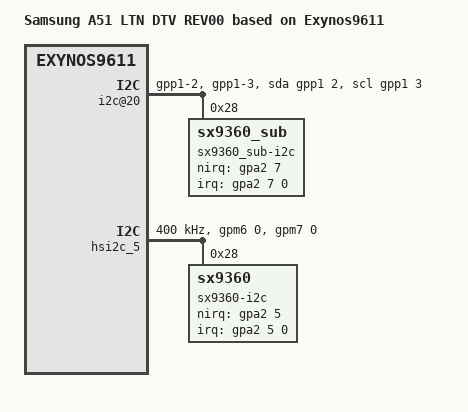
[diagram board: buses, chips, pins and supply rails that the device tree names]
/*
 * SAMSUNG EXYNOS9610 board device tree source
 *
 * Copyright (c) 2018 Samsung Electronics Co., Ltd.
 *		http://www.samsung.com
 *
 * This program is free software; you can redistribute it and/or modify
 * it under the terms of the GNU General Public License version 2 as
 * published by the Free Software Foundation.
 */

/dts-v1/;
/plugin/;
#include "exynos9611-a51_common.dtsi"
#include "battery_data_a51_00.dtsi"
#include "exynos9611-a51_fingerprint_00.dtsi"
#include "exynos9611-a51_sensorhub_00.dtsi"
#include "exynos9611-a51_nfc_00.dtsi"
#include "exynos9611-a51_ltn_dtv_gpio_00.dtsi"

/ {
	compatible = "samsung, A51 LTN DTV REV00", "samsung,EXYNOS9611";
	dtbo-hw_rev = <0>;
	dtbo-hw_rev_end = <0>;

	fragment@model {
		target-path = "/";
		__overlay__ {
			#address-cells = <2>;
			#size-cells = <1>;

			model = "Samsung A51 LTN DTV REV00 based on Exynos9611";

			mif_pdata {
				/* GPIOs for HW REV */
				/* XGPIO26-AP_REV0, XGPIO27-AP_REV1, XGPIO28-AP_REV2, XGPIO29-AP_REV3 */
				gpios = <&gpg3 2 0>, <&gpg3 3 0>, <&gpg3 4 0>, <&gpg3 5 0>;
				pinctrl-names = "default";
			};

			sec_vib {
				compatible = "sec_vib";
				sec_vib_pdata {
					status = "okay";
					sec_vib,max_timeout = <10000>;
					sec_vib,ldo_type = <1>;
					sec_vib,ldo_en = <&gpg2 5 0>;
				};
			};

			i2c@20 {
				compatible = "i2c-gpio";
				gpios = <&gpp1 2 0
						&gpp1 3 0>;
				i2c-gpio,delay-us = <5>;
				#address-cells = <1>;
				#size-cells = <0>;
				pinctrl-names = "default";
				pinctrl-0 = <&grip_sub_i2c>;

				sx9360_sub-i2c@28 {
					status = "okay";

					compatible = "sx9360_sub";
					reg = <0x28>;
					pinctrl-names = "default";
					pinctrl-0 = <&grip_sub_int>;
					interrupt-parent = <&gpa2>;
					interrupts = <7 0 0>;
					sx9360_sub,nirq-gpio = <&gpa2 7 0>;

					sx9360,refresolution_reg = <0x0f>; /* same as resolution_reg */
					sx9360,refagainfreq_reg = <0x36>; /* same as againfreq_reg */
					sx9360,resolution_reg = <0x0f>; /* resolution : 1024 */
					sx9360,againfreq_reg = <0x58>; /* freq : 62.5 kHz, again : +/-7.5 pF */
					sx9360,refgainrawfilt_reg = <0x22>; /* same as gainrawfilt_reg */
					sx9360,gainrawfilt_reg = <0x1A>; /* rawfilter : 1-1/4, gain : x4 */
					sx9360,hyst_reg = <0x15>; /* hysteresis : +/-6 %, debouncer : 2 samples */
					sx9360,proxthresh_reg = <0x23>; /* threshhold : 612 */
					sx9360_sub,hallic_detect = <1>;
					sx9360_sub,hallic_cert_detect = <1>;
				};
			};
		}; /* end of __overlay__ */
	}; /* end of fragment */
}; /* end of root */

/* USI_1_CMGP_I2C */
&hsi2c_5 {
	#address-cells = <1>;
	#size-cells = <0>;
	gpios = <&gpm6 0 0 &gpm7 0 0>;
	#samsung,i2c-sda-delay = <100>;
	#samsung,i2c-max-bus-freq = <400000>;
	clock-frequency = <400000>;
	status = "okay";
	samsung,reset-before-trans;

	pinctrl-names = "default";
	pinctrl-0 = <&hsi2c5_bus>;

	sx9360-i2c@28 {
		status = "okay";

		compatible = "sx9360";
		reg = <0x28>;
		pinctrl-names = "default";
		pinctrl-0 = <&grip_int>;

		interrupt-parent = <&gpa2>;
		interrupts = <5 0 0>;
		sx9360,nirq-gpio = <&gpa2 5 0>;

		sx9360,reggnrlctrl2_reg = <0x32>;	/* scanperiod: 102ms */
		sx9360,againfreq_reg = <0x58>;		/* freq : 62.5 kHz, again : +/-7.5 pF */
		sx9360,refagainfreq_reg = <0x36>;	/* reference phase again : 5.25 pF, sampling freq : 83.33 khz */
		sx9360,gainrawfilt_reg = <0x1A>;	/* gain: x4, rawfilt : 1-1/4 */
		sx9360,refgainrawfilt_reg = <0x22>;	/* reference phase gain: x8, rawfilt : 1-1/4 */
		sx9360,proxthresh_reg = <0x22>;		/* threshold: 614 */
		sx9360,hyst_reg = <0x15>;		/* hysteresis: small, closedeb: 2 samples, fardeb: 2 samples */
		sx9360,regproxctrl3_reg = <0x0C>;	/* AVGPOSFILT: 1/256, AVGNEGFILT: 1/2 */
		sx9360,resolution_reg = <0x0F>;		/* resolution: 1204 */
		sx9360,refresolution_reg = <0x0F>;	/* reference phase  resolution: 1204 */
		sx9360,hallic_detect = <1>;
		sx9360,hallic_cert_detect = <1>;
	};
};

&pinctrl_0 {
	earant_det: earant-det {
		samsung,pins ="gpa1-4";
		samsung,pin-function = <0xf>;
		samsung,pin-pud = <0>;
	};
	grip_int: grip-int {
		samsung,pins = "gpa2-5";
		samsung,pin-function = <0xf>;
		samsung,pin-pud = <0>;
	};
	grip_sub_int: grip-sub-int {
		samsung,pins = "gpa2-7";
		samsung,pin-function = <0xf>;
		samsung,pin-pud = <0>;
	};
};

&pinctrl_4 {
	grip_sub_i2c: grip-sub-i2c {
		samsung,pins = "gpp1-2", "gpp1-3";
		samsung,pin-function = <2>;
		samsung,pin-pud = <0>;
	};
};

